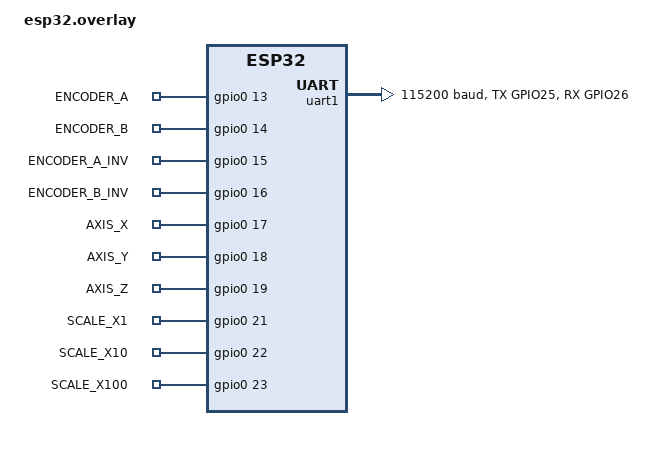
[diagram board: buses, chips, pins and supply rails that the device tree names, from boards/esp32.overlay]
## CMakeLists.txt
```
cmake_minimum_required(VERSION 3.20.0)

set(DTC_OVERLAY_FILE "${CMAKE_CURRENT_SOURCE_DIR}/boards/esp32.overlay")

find_package(Zephyr REQUIRED HINTS $ENV{ZEPHYR_BASE})

set(CMAKE_CXX_STANDARD 20)
enable_language(CXX)

project(esp32-pendant)

set(SRC_DIR ${CMAKE_CURRENT_SOURCE_DIR}/src)
set(LIB_DIR ${CMAKE_CURRENT_SOURCE_DIR}/lib)

file(GLOB SOURCES "${SRC_DIR}/*.cpp")

target_sources(app PRIVATE ${SOURCES})

# GrblParser sources
set(GRBL_DIR ${LIB_DIR}/GrblParser)
file(GLOB GRBL_SOURCES "${GRBL_DIR}/src/*.c")
target_sources(app PRIVATE ${GRBL_SOURCES})

# Include directory for GrblParser headers
target_include_directories(app PRIVATE "${GRBL_DIR}/src/")
```

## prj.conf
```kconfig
CONFIG_CPP=y
CONFIG_REQUIRES_FULL_LIBCPP=y
CONFIG_POSIX_DEVICE_IO=y
CONFIG_POSIX_FD_MGMT=y
CONFIG_POSIX_FILE_SYSTEM=y
CONFIG_SERIAL=y
CONFIG_UART_INTERRUPT_DRIVEN=y
CONFIG_PINCTRL=y
CONFIG_GPIO=y
CONFIG_FPU=y
```

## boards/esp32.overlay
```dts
/ {
    compatible = "espressif,esp32";

    gpio_pendant {
        compatible = "gpio-keys";
        status = "okay";
        encoder_a {
            gpios = <&gpio0 13 GPIO_ACTIVE_HIGH>;
            label = "ENCODER_A";
        };
        encoder_b {
            gpios = <&gpio0 14 GPIO_ACTIVE_HIGH>;
            label = "ENCODER_B";
        };
        encoder_a_inv {
            gpios = <&gpio0 15 GPIO_ACTIVE_HIGH>;
            label = "ENCODER_A_INV";
        };
        encoder_b_inv {
            gpios = <&gpio0 16 GPIO_ACTIVE_HIGH>;
            label = "ENCODER_B_INV";
        };
        axis_x {
            gpios = <&gpio0 17 GPIO_ACTIVE_HIGH>;
            label = "AXIS_X";
        };
        axis_y {
            gpios = <&gpio0 18 GPIO_ACTIVE_HIGH>;
            label = "AXIS_Y";
        };
        axis_z {
            gpios = <&gpio0 19 GPIO_ACTIVE_HIGH>;
            label = "AXIS_Z";
        };
        scale_x1 {
            gpios = <&gpio0 21 GPIO_ACTIVE_HIGH>;
            label = "SCALE_X1";
        };
        scale_x10 {
            gpios = <&gpio0 22 GPIO_ACTIVE_HIGH>;
            label = "SCALE_X10";
        };
        scale_x100 {
            gpios = <&gpio0 23 GPIO_ACTIVE_HIGH>;
            label = "SCALE_X100";
        };
    };
};

&pinctrl {
    uart1_default: uart1_default {
        group1 {
            pinmux = <UART1_TX_GPIO25>,
                     <UART1_RX_GPIO26>;
        };
    };
};

&uart1 {
    status = "okay";
    current-speed = <115200>;
    pinctrl-0 = <&uart1_default>;
    pinctrl-names = "default";
};
```

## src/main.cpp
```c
#include <vector>
#include <string>
#include <string.h>
#include "GrblParserC.h"

#include <zephyr/kernel.h>
#include <zephyr/device.h>
#include <zephyr/drivers/pinctrl.h>
#include <zephyr/drivers/gpio.h>
#include <zephyr/drivers/uart.h>
#include <math.h>

// GPIO pin definitions
#define ENCODER_A_NODE DT_PATH(gpio_pendant, encoder_a)
#define ENCODER_B_NODE DT_PATH(gpio_pendant, encoder_b)
#define ENCODER_A_INV_NODE DT_PATH(gpio_pendant, encoder_a_inv)
#define ENCODER_B_INV_NODE DT_PATH(gpio_pendant, encoder_b_inv)

#define AXIS_X_NODE DT_PATH(gpio_pendant, axis_x)
#define AXIS_Y_NODE DT_PATH(gpio_pendant, axis_y)
#define AXIS_Z_NODE DT_PATH(gpio_pendant, axis_z)

#define SCALE_X1_NODE DT_PATH(gpio_pendant, scale_x1)
#define SCALE_X10_NODE DT_PATH(gpio_pendant, scale_x10)
#define SCALE_X100_NODE DT_PATH(gpio_pendant, scale_x100)

// #define ESTOP_PIN        25   // ESP32 GPIO25 for E-stop (Blue-Black)

#define UART_DEVICE DT_NODELABEL(uart1)

static volatile int encoder_pos = 0;
static char selected_axis = 'O';  // Default to X
static int scale_factor = 1;      // Default to x1

static const struct gpio_dt_spec encoder_a = GPIO_DT_SPEC_GET(ENCODER_A_NODE, gpios);
static const struct gpio_dt_spec encoder_b = GPIO_DT_SPEC_GET(ENCODER_B_NODE, gpios);
static const struct gpio_dt_spec encoder_a_inv = GPIO_DT_SPEC_GET(ENCODER_A_INV_NODE, gpios);
static const struct gpio_dt_spec encoder_b_inv = GPIO_DT_SPEC_GET(ENCODER_B_INV_NODE, gpios);

static const struct gpio_dt_spec axis_x = GPIO_DT_SPEC_GET(AXIS_X_NODE, gpios);
static const struct gpio_dt_spec axis_y = GPIO_DT_SPEC_GET(AXIS_Y_NODE, gpios);
static const struct gpio_dt_spec axis_z = GPIO_DT_SPEC_GET(AXIS_Z_NODE, gpios);

static const struct gpio_dt_spec scale_x1 = GPIO_DT_SPEC_GET(SCALE_X1_NODE, gpios);
static const struct gpio_dt_spec scale_x10 = GPIO_DT_SPEC_GET(SCALE_X10_NODE, gpios);
static const struct gpio_dt_spec scale_x100 = GPIO_DT_SPEC_GET(SCALE_X100_NODE, gpios);

// /* Encoder interrupt callback */
static void encoder_isr(const struct device *dev, struct gpio_callback *cb, uint32_t pins)
{
    bool a = gpio_pin_get_dt(&encoder_a);
    bool b = gpio_pin_get_dt(&encoder_b);

    if (a != b) {
        encoder_pos++;  // Clockwise
    } else {
        encoder_pos--;  // Counterclockwise
    }
	k_msleep(1);
}

// Pin control configuration
PINCTRL_DT_DEFINE(UART_DEVICE);

// UART pin configuration structure
static const struct pinctrl_dev_config *pinctrl_cfg = PINCTRL_DT_DEV_CONFIG_GET(UART_DEVICE);

class FluidNCController {
private:
	const struct device *uart_dev;

	struct uart_config uart_cfg = {
		.baudrate = 115200,
		.parity = UART_CFG_PARITY_NONE,
		.stop_bits = UART_CFG_STOP_BITS_1,
		.data_bits = UART_CFG_DATA_BITS_8,
		.flow_ctrl = UART_CFG_FLOW_CTRL_NONE
	};

	bool init_uart() {
		uart_dev = DEVICE_DT_GET(UART_DEVICE);
		if (!device_is_ready(uart_dev)) {
			printk("UART device not ready!\n");
			return false;
		}

        int ret = pinctrl_apply_state(pinctrl_cfg, PINCTRL_STATE_DEFAULT);
        if (ret < 0) {
            printk("Failed to configure UART pins: %d\n", ret);
            return false;
        }

		ret = uart_configure(uart_dev, &uart_cfg);
		if (ret < 0) {
			printk("Failed to configure UART: %d\n", ret);
			return false;
		}

		return true;
	}

    /* Generate G-Code and send to console */
    void generate_gcode(int steps) {
        char gcode[64];
        float step_size = 0.001;  // Base step size in mm (adjust based on your encoder resolution)
        float movement = steps * step_size * scale_factor;  // Total movement in mm (positive or negative)

        // Ensure movement is rounded to a reasonable precision (e.g., 3 decimal places for mm)
        movement = roundf(movement * 1000.0) / 1000.0;  // Round to 0.001 mm precision

        // Clamp movement to avoid tiny or zero movements (e.g., due to noise or rounding)
        if (fabs(movement) < 0.001) {
            return;  // Ignore movements smaller than 0.001 mm
        }

        // Generate G-Code in the format $J=G91 G21 [Axis][Distance] F1000
        // Use %.3f for float formatting to ensure 3 decimal places (e.g., 0.001, 0.010, 0.100)
        int len = snprintf(gcode, sizeof(gcode), "$J=G91 G21 %c%.3f F1000\r\n", selected_axis, movement);

        if (len < 0 || len >= sizeof(gcode)) {
            printk("G-Code formatting error\n");
            return;
        }

        printk("Generated G-Code: %s", gcode);  // Debug output to verify
        printk("Debug - steps: %d, scale_factor: %d, movement: %.3f\n",
            steps, scale_factor, movement);  // Additional debugging

        fnc_send_line(gcode, 10);
        // uart_poll_out(uart_dev, gcode, strlen(gcode));
    }

    void update_switches(void) {
        if (!gpio_pin_get_dt(&axis_x)) selected_axis = 'X';
        else if (!gpio_pin_get_dt(&axis_y)) selected_axis = 'Y';
        else if (!gpio_pin_get_dt(&axis_z)) selected_axis = 'Z';
        else selected_axis = 'O';

        if (!gpio_pin_get_dt(&scale_x1)) scale_factor = 1;    // x1
        else if (!gpio_pin_get_dt(&scale_x10)) scale_factor = 10; // x10
        else if (!gpio_pin_get_dt(&scale_x100)) scale_factor = 100; // x100
    }

public:
	FluidNCController() {
		if (!init_uart()) {
			printk("Failed to initialize UART");
		}
	}

	void run() {
        fnc_wait_ready();
        printk("Starting sequence\n");

        while(1) {
            update_switches();

            if (encoder_pos != 0 && selected_axis != 'O') {
                generate_gcode(encoder_pos);
                encoder_pos = 0;  // Reset after processing
            }
            
            k_msleep(10);
        }
	}
};

extern "C" {
	static const struct device *uart_dev_global = DEVICE_DT_GET(UART_DEVICE);

	int fnc_getchar() {
		unsigned char c;
		if (uart_poll_in(uart_dev_global, &c) == 0) {
			return c;
		}
		return -1;
	}

	void fnc_putchar(uint8_t c) {
		uart_poll_out(uart_dev_global, c);
	}

	int milliseconds() {
		return k_uptime_get_32();
	}

	void show_state(const char *state) {
		printk("State: %s\n", state);
	}
}


int main() {
	int ret; 
	/* Initialize GPIO pins */
    if (!device_is_ready(encoder_a.port)) {
        printk("Encoder A GPIO device not ready\n");
        return -1;
    }
    if (!device_is_ready(encoder_b.port)) {
        printk("Encoder B GPIO device not ready\n");
        return -1;
    }
    if (!device_is_ready(encoder_a_inv.port)) {
        printk("Encoder A_INV GPIO device not ready\n");
        return -1;
    }
    if (!device_is_ready(encoder_b_inv.port)) {
        printk("Encoder B_INV GPIO device not ready\n");
        return -1;
    }
	if (!device_is_ready(axis_x.port)) {
        printk("Axis X GPIO device not ready\n");
        return -1;
    }
    if (!device_is_ready(axis_y.port)) {
        printk("Axis Y GPIO device not ready\n");
        return -1;
    }
	if (!device_is_ready(axis_z.port)) {
        printk("Axis Z GPIO device not ready\n");
        return -1;
    }
    if (!device_is_ready(scale_x1.port)) {
        printk("Scale X1 GPIO device not ready\n");
        return -1;
    }
    if (!device_is_ready(scale_x10.port)) {
        printk("Scale X10 GPIO device not ready\n");
        return -1;
    }
    if (!device_is_ready(scale_x100.port)) {
        printk("Scale X100 GPIO device not ready\n");
        return -1;
    }

	ret = gpio_pin_configure_dt(&encoder_a, GPIO_INPUT);
    if (ret < 0) {
        printk("Failed to configure Encoder A pin\n");
        return -1;
    }
    ret = gpio_pin_configure_dt(&encoder_b, GPIO_INPUT);
    if (ret < 0) {
        printk("Failed to configure Encoder B pin\n");
        return -1;
    }
    ret = gpio_pin_configure_dt(&encoder_a_inv, GPIO_INPUT);
    if (ret < 0) {
        printk("Failed to configure Encoder A_INV pin\n");
        return -1;
    }
    ret = gpio_pin_configure_dt(&encoder_b_inv, GPIO_INPUT);
    if (ret < 0) {
        printk("Failed to configure Encoder B_INV pin\n");
        return -1;
    }
	ret = gpio_pin_configure_dt(&axis_x, GPIO_INPUT | GPIO_PULL_UP);
    if (ret < 0) {
        printk("Failed to configure Axis X pin\n");
        return -1;
    }
    ret = gpio_pin_configure_dt(&axis_y, GPIO_INPUT | GPIO_PULL_UP);
    if (ret < 0) {
        printk("Failed to configure Axis Y pin\n");
        return -1;
    }
	ret = gpio_pin_configure_dt(&axis_z, GPIO_INPUT | GPIO_PULL_UP);
    if (ret < 0) {
        printk("Failed to configure Axis Z pin\n");
        return -1;
    }
    ret = gpio_pin_configure_dt(&scale_x1, GPIO_INPUT | GPIO_PULL_UP);
    if (ret < 0) {
        printk("Failed to configure Scale X1 pin\n");
        return -1;
    }
    ret = gpio_pin_configure_dt(&scale_x10, GPIO_INPUT | GPIO_PULL_UP);
    if (ret < 0) {
        printk("Failed to configure Scale X10 pin\n");
        return -1;
    }
    ret = gpio_pin_configure_dt(&scale_x100, GPIO_INPUT | GPIO_PULL_UP);
    if (ret < 0) {
        printk("Failed to configure Scale X100 pin\n");
        return -1;
    }

	// Setup interrupts
	static struct gpio_callback encoder_cb;

	ret = gpio_pin_interrupt_configure_dt(&encoder_a, GPIO_INT_EDGE_BOTH);
    if (ret < 0) {
        printk("Failed to configure Encoder A interrupt\n");
        return -1;
    }
    ret = gpio_pin_interrupt_configure_dt(&encoder_b, GPIO_INT_EDGE_BOTH);
    if (ret < 0) {
        printk("Failed to configure Encoder B interrupt\n");
        return -1;
    }
    // ret = gpio_pin_interrupt_configure_dt(&encoder_a_inv, GPIO_INT_EDGE_BOTH);
    // if (ret < 0) {
    //     printk("Failed to configure Encoder A_INV interrupt\n");
    //     return -1;
    // }
    // ret = gpio_pin_interrupt_configure_dt(&encoder_b_inv, GPIO_INT_EDGE_BOTH);
    // if (ret < 0) {
    //     printk("Failed to configure Encoder B_INV interrupt\n");
    //     return -1;
    // }

	// gpio_init_callback(&encoder_cb, encoder_isr, BIT(encoder_a.pin) | BIT(encoder_b.pin));
	gpio_init_callback(&encoder_cb, encoder_isr, BIT(encoder_a.pin)); // | BIT(encoder_b.pin) | BIT(encoder_a_inv.pin) | BIT(encoder_b_inv.pin));
    gpio_add_callback(encoder_a.port, &encoder_cb);
	
    printk("CNC Pendant Test! %s\n", CONFIG_BOARD_TARGET);    

    FluidNCController controller;
    controller.run();
}
```
